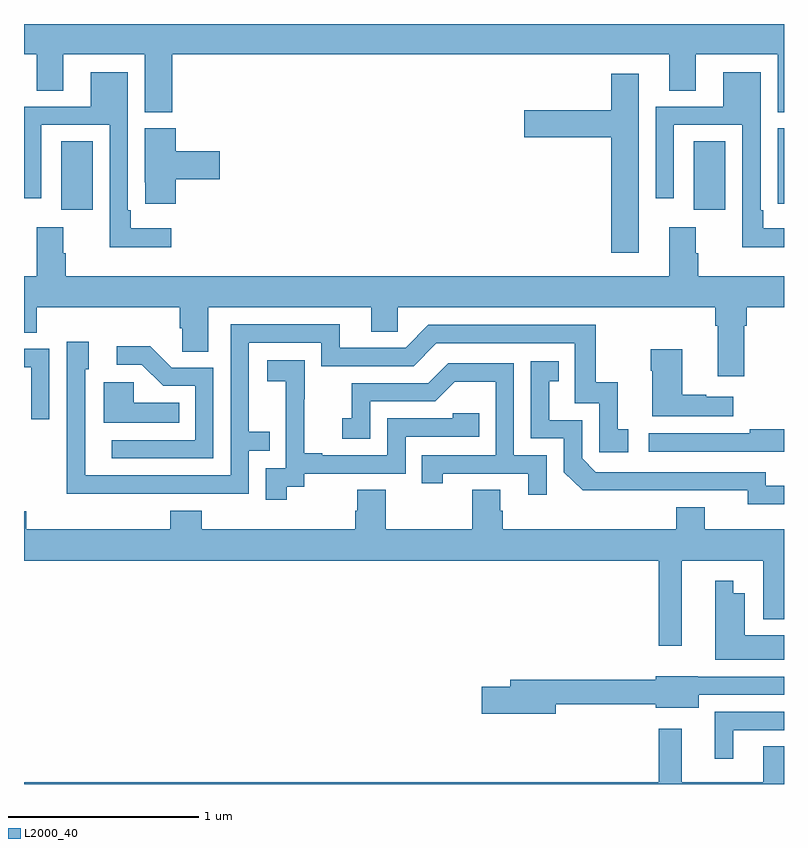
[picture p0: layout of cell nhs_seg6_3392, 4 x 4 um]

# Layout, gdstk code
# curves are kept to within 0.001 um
import gdstk
lib = gdstk.Library(unit=1e-6, precision=1e-09)
def R(c, l, rs):  # rectangles x0, y0, x1, y1
    for r in rs: c.add(gdstk.rectangle(r[:2], r[2:], *l))
def P(c, l, *ps):  # polygons
    for p in ps: c.add(gdstk.Polygon(p, *l))
L2000_40 = (2000, 40)

nhs_seg6_3392 = lib.new_cell('nhs_seg6_3392')
R(nhs_seg6_3392, L2000_40, [(311.195,942.522,311.362,942.884), (314.525,942.522,314.692,942.884), (314.966,942.555,315,942.951)])
P(nhs_seg6_3392, L2000_40, [(311.78,943.34),(314.396,943.34),(314.396,943.15),(314.536,943.15),(314.536,943.34),(314.966,943.34),(314.966,943.036),(315,943.036),(315,943.5),(311,943.5),(311,943.34),(311.066,943.34),(311.066,943.15),(311.206,943.15),(311.206,943.34),(311.636,943.34),(311.636,943.036),(311.78,943.036)],
  [(315,942.424),(314.89,942.424),(314.89,942.52),(314.877,942.52),(314.877,943.246),(314.681,943.246),(314.681,943.065),(314.325,943.065),(314.325,942.582),(314.421,942.582),(314.421,942.969),(314.781,942.969),(314.781,942.326),(315,942.326)],
  [(311.776,942.424),(311.563,942.424),(311.563,942.52),(311.547,942.52),(311.547,943.246),(311.351,943.246),(311.351,943.065),(311,943.065),(311,942.582),(311.091,942.582),(311.091,942.969),(311.451,942.969),(311.451,942.326),(311.776,942.326)],
  [(314.236,943.237),(314.09,943.237),(314.09,943.047),(313.632,943.047),(313.632,942.905),(314.09,942.905),(314.09,942.297),(314.236,942.297)],
  [(311.798,942.683),(312.031,942.683),(312.031,942.83),(311.798,942.83),(311.798,942.951),(311.636,942.951),(311.636,942.667),(311.637,942.667),(311.637,942.555),(311.798,942.555)],
  [(314.791,941.912),(314.804,941.912),(314.804,942.008),(315,942.008),(315,942.172),(314.549,942.172),(314.549,942.293),(314.536,942.293),(314.536,942.43),(314.396,942.43),(314.396,942.172),(311.219,942.172),(311.219,942.293),(311.206,942.293),(311.206,942.43),(311.066,942.43),(311.066,942.172),(311,942.172),(311,941.875),(311.066,941.875),(311.066,942.008),(311.819,942.008),(311.819,941.899),(311.832,941.899),(311.832,941.776),(311.971,941.776),(311.971,942.008),(312.827,942.008),(312.827,941.881),(312.966,941.881),(312.966,942.008),(314.639,942.008),(314.639,941.912),(314.651,941.912),(314.651,941.646),(314.791,941.646)],
  [(311.687,941.028),(312.183,941.028),(312.183,941.253),(312.293,941.253),(312.293,941.354),(312.183,941.354),(312.183,941.823),(312.564,941.823),(312.564,941.7),(313.05,941.7),(313.17,941.82),(313.899,941.82),(313.899,941.505),(314.028,941.505),(314.028,941.247),(314.179,941.247),(314.179,941.367),(314.126,941.367),(314.126,941.614),(314.008,941.614),(314.008,941.916),(313.128,941.916),(313.008,941.796),(312.661,941.796),(312.661,941.919),(312.087,941.919),(312.087,941.124),(311.323,941.124),(311.322,941.682),(311.341,941.682),(311.341,941.827),(311.226,941.827),(311.226,941.333),(311.224,941.333),(311.224,941.027)],
  [(311.997,941.691),(311.778,941.691),(311.665,941.804),(311.487,941.804),(311.487,941.706),(311.621,941.706),(311.732,941.595),(311.901,941.595),(311.901,941.31),(311.463,941.31),(311.463,941.214),(311.997,941.214)],
  [(311.133,941.79),(311,941.79),(311,941.694),(311.037,941.694),(311.037,941.421),(311.133,941.421)],
  [(314.734,941.539),(314.591,941.539),(314.591,941.549),(314.464,941.549),(314.464,941.788),(314.299,941.788),(314.299,941.675),(314.306,941.675),(314.306,941.435),(314.734,941.435)],
  [(312.382,941.065),(312.474,941.065),(312.474,941.133),(313.008,941.133),(313.008,941.328),(313.397,941.328),(313.397,941.451),(313.257,941.451),(313.257,941.424),(312.912,941.424),(312.912,941.229),(312.571,941.229),(312.571,941.242),(312.476,941.242),(312.476,941.525),(312.477,941.525),(312.477,941.731),(312.279,941.731),(312.279,941.621),(312.377,941.621),(312.377,941.393),(312.378,941.393),(312.378,941.163),(312.273,941.163),(312.273,940.995),(312.382,940.995)],
  [(315,941.07),(314.904,941.07),(314.904,941.142),(314.01,941.142),(313.938,941.214),(313.938,941.415),(313.765,941.415),(313.765,941.619),(313.814,941.619),(313.814,941.725),(313.668,941.725),(313.668,941.319),(313.842,941.319),(313.842,941.142),(313.94,941.045),(314.808,941.046),(314.808,940.973),(315,940.973)],
  [(313.752,941.229),(313.578,941.229),(313.578,941.715),(313.232,941.715),(313.127,941.61),(312.724,941.61),(312.724,941.425),(312.675,941.425),(312.675,941.316),(312.822,941.316),(312.822,941.514),(313.164,941.514),(313.268,941.618),(313.482,941.618),(313.482,941.229),(313.093,941.229),(313.093,941.082),(313.204,941.082),(313.204,941.133),(313.655,941.133),(313.655,941.022),(313.752,941.022)],
  [(311.816,941.506),(311.577,941.506),(311.577,941.614),(311.42,941.614),(311.42,941.402),(311.816,941.402)],
  [(315,941.366),(314.821,941.366),(314.821,941.346),(314.289,941.346),(314.289,941.25),(315,941.25)],
  [(314.461,940.676),(314.891,940.676),(314.891,940.367),(315,940.367),(315,940.84),(314.584,940.84),(314.584,940.957),(314.432,940.957),(314.432,940.84),(313.52,940.84),(313.52,940.938),(313.507,940.938),(313.507,941.048),(313.36,941.048),(313.36,940.84),(312.903,940.84),(312.903,941.048),(312.755,941.048),(312.755,940.938),(312.743,940.938),(312.743,940.84),(311.936,940.84),(311.936,940.939),(311.771,940.939),(311.771,940.84),(311.012,940.84),(311.012,940.936),(311,940.936),(311,940.676),(314.34,940.676),(314.34,940.227),(314.461,940.227)],
  [(315,940.282),(314.794,940.282),(314.794,940.504),(314.734,940.504),(314.734,940.57),(314.637,940.57),(314.637,940.154),(315,940.154)],
  [(313.798,939.921),(314.324,939.921),(314.324,939.902),(314.551,939.902),(314.551,939.969),(315,939.969),(315,940.065),(314.547,940.065),(314.547,940.066),(314.324,940.066),(314.324,940.049),(313.559,940.049),(313.559,940.013),(313.41,940.013),(313.41,939.871),(313.798,939.871)],
  [(314.734,939.783),(315,939.783),(315,939.879),(314.636,939.879),(314.636,939.633),(314.734,939.633)],
  [(315,939.698),(314.891,939.698),(314.891,939.508),(314.461,939.508),(314.461,939.79),(314.34,939.79),(314.34,939.508),(311,939.508),(311,939.5),(315,939.5)])

lib.write_gds('nhs_seg6_3392.gds')
